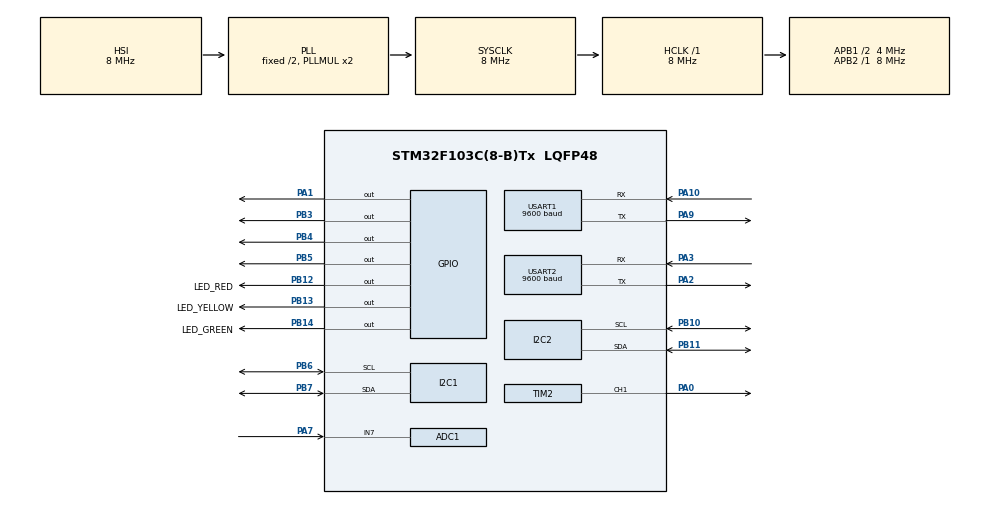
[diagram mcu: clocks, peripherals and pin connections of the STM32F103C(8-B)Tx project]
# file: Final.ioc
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ADC1.Channel-3\#ChannelRegularConversion=ADC_CHANNEL_7
ADC1.ContinuousConvMode=ENABLE
ADC1.NbrOfConversionFlag=1
ADC1.Rank-3\#ChannelRegularConversion=1
ADC1.SamplingTime-3\#ChannelRegularConversion=ADC_SAMPLETIME_1CYCLE_5
ADC1.master=1
Dma.Request0=USART2_TX
Dma.Request1=USART2_RX
Dma.Request2=USART1_RX
Dma.Request3=USART1_TX
Dma.USART1_RX.2.Direction=DMA_PERIPH_TO_MEMORY
Dma.USART1_RX.2.Instance=DMA1_Channel5
Dma.USART1_RX.2.MemDataAlignment=DMA_MDATAALIGN_BYTE
Dma.USART1_RX.2.MemInc=DMA_MINC_ENABLE
Dma.USART1_RX.2.Mode=DMA_NORMAL
Dma.USART1_RX.2.PeriphDataAlignment=DMA_PDATAALIGN_BYTE
Dma.USART1_RX.2.PeriphInc=DMA_PINC_DISABLE
Dma.USART1_RX.2.Priority=DMA_PRIORITY_LOW
Dma.USART1_TX.3.Direction=DMA_MEMORY_TO_PERIPH
Dma.USART1_TX.3.Instance=DMA1_Channel4
Dma.USART1_TX.3.MemDataAlignment=DMA_MDATAALIGN_BYTE
Dma.USART1_TX.3.MemInc=DMA_MINC_ENABLE
Dma.USART1_TX.3.Mode=DMA_NORMAL
Dma.USART1_TX.3.PeriphDataAlignment=DMA_PDATAALIGN_BYTE
Dma.USART1_TX.3.PeriphInc=DMA_PINC_DISABLE
Dma.USART1_TX.3.Priority=DMA_PRIORITY_LOW
Dma.USART2_RX.1.Direction=DMA_PERIPH_TO_MEMORY
Dma.USART2_RX.1.Instance=DMA1_Channel6
Dma.USART2_RX.1.MemDataAlignment=DMA_MDATAALIGN_BYTE
Dma.USART2_RX.1.MemInc=DMA_MINC_ENABLE
Dma.USART2_RX.1.Mode=DMA_NORMAL
Dma.USART2_RX.1.PeriphDataAlignment=DMA_PDATAALIGN_BYTE
Dma.USART2_RX.1.PeriphInc=DMA_PINC_DISABLE
Dma.USART2_RX.1.Priority=DMA_PRIORITY_LOW
Dma.USART2_TX.0.Direction=DMA_MEMORY_TO_PERIPH
Dma.USART2_TX.0.Instance=DMA1_Channel7
Dma.USART2_TX.0.MemDataAlignment=DMA_MDATAALIGN_BYTE
Dma.USART2_TX.0.MemInc=DMA_MINC_ENABLE
Dma.USART2_TX.0.Mode=DMA_NORMAL
Dma.USART2_TX.0.PeriphDataAlignment=DMA_PDATAALIGN_BYTE
Dma.USART2_TX.0.PeriphInc=DMA_PINC_DISABLE
Dma.USART2_TX.0.Priority=DMA_PRIORITY_LOW
Mcu.Family=STM32F1
Mcu.Name=STM32F103C(8-B)Tx
Mcu.Package=LQFP48
NVIC.DMA1_Channel4_IRQn=true\:0\:0\:false\:false\:true\:false\:true\:true
NVIC.DMA1_Channel5_IRQn=true\:0\:0\:false\:false\:true\:false\:true\:true
NVIC.DMA1_Channel6_IRQn=true\:0\:0\:false\:false\:true\:false\:true\:true
NVIC.DMA1_Channel7_IRQn=true\:0\:0\:false\:false\:true\:false\:true\:true
NVIC.I2C2_EV_IRQn=true\:0\:0\:false\:false\:true\:true\:true\:true
NVIC.PriorityGroup=NVIC_PRIORITYGROUP_4
NVIC.USART1_IRQn=true\:0\:0\:false\:false\:true\:true\:true\:true
NVIC.USART2_IRQn=true\:0\:0\:false\:false\:true\:true\:true\:true
PA0-WKUP.Signal=S_TIM2_CH1_ETR
PA1.Signal=GPIO_Output
PA10.Mode=Asynchronous
PA10.Signal=USART1_RX
PA13.Mode=Serial_Wire
PA13.Signal=SYS_JTMS-SWDIO
PA14.Mode=Serial_Wire
PA14.Signal=SYS_JTCK-SWCLK
PA2.Mode=Asynchronous
PA2.Signal=USART2_TX
PA3.Mode=Asynchronous
PA3.Signal=USART2_RX
PA7.Signal=ADCx_IN7
PA9.Mode=Asynchronous
PA9.Signal=USART1_TX
PB10.Mode=I2C
PB10.Signal=I2C2_SCL
PB11.Mode=I2C
PB11.Signal=I2C2_SDA
PB12.GPIO_Label=LED_RED
PB12.Signal=GPIO_Output
PB13.GPIO_Label=LED_YELLOW
PB13.Signal=GPIO_Output
PB14.GPIO_Label=LED_GREEN
PB14.Signal=GPIO_Output
PB3.PinState=GPIO_PIN_SET
PB3.Signal=GPIO_Output
PB4.PinState=GPIO_PIN_SET
PB4.Signal=GPIO_Output
PB5.PinState=GPIO_PIN_SET
PB5.Signal=GPIO_Output
PB6.Mode=I2C
PB6.Signal=I2C1_SCL
PB7.Mode=I2C
PB7.Signal=I2C1_SDA
ProjectManager.HeapSize=0x200
ProjectManager.StackSize=0x400
ProjectManager.TargetToolchain=STM32CubeIDE
RCC.AHBFreq_Value=8000000
RCC.APB1CLKDivider=RCC_HCLK_DIV2
RCC.APB1Freq_Value=4000000
RCC.APB1TimFreq_Value=8000000
RCC.APB2Freq_Value=8000000
RCC.APB2TimFreq_Value=8000000
RCC.HCLKFreq_Value=8000000
RCC.SYSCLKFreq_VALUE=8000000
RCC.SYSCLKSource=RCC_SYSCLKSOURCE_PLLCLK
RCC.USBFreq_Value=8000000
SH.ADCx_IN7.0=ADC1_IN7,IN7
SH.S_TIM2_CH1_ETR.0=TIM2_CH1,PWM Generation1 CH1
TIM2.Channel-PWM\ Generation1\ CH1=TIM_CHANNEL_1
TIM2.Period=1000-1
TIM2.Prescaler=8-1
USART1.BaudRate=9600
USART1.VirtualMode=VM_ASYNC
USART2.BaudRate=9600
USART2.VirtualMode=VM_ASYNC
VP_TIM2_VS_ClockSourceINT.Mode=Internal
board=custom

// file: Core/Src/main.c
/*
 *
 *
+ *  USER CODE BEGIN Header *
 *  /
/**20261012
  ******************************************************************************
  * @file           : main.c
  * @brief          : Main program body
  ******************************************************************************
  */
/* USER CODE END Header */
#include "main.h"
#include "adc.h"
#include "dma.h"
#include "i2c.h"
#include "tim.h"
#include "usart.h"
#include "gpio.h"

/* USER CODE BEGIN Includes */
#include "BLE.h"
#include "Conductivity sensor.h"
#include <stdio.h>
#include <string.h>
#include <AHT21_ENS160.h>
#include "ph_sensor.h"
#include "led.h"
#include "kk_ui.h"
#include "kk_ui_app.h"
#include "kk_oled.h"
#include "kk_oled_driver.h"
#include "ui_input.h"
/* USER CODE END Includes */

/* USER CODE BEGIN PV */
extern uint8_t ble_rx_buf[128];
float current_ph_value = 0.0f;
// 声明外部变量
extern float T_message;
extern uint16_t E_message;
/* USER CODE END PV */

void SystemClock_Config(void);

/* USER CODE BEGIN 0 */

// 1. 蓝牙使用的空闲中断 + DMA 回调
void HAL_UARTEx_RxEventCallback(UART_HandleTypeDef *huart, uint16_t Size)
{
    if (huart->Instance == USART1)
    {

    //解析小程序下发的三色灯控制指令 ↓↓↓↓↓↓

    // 假设蓝牙接收的数据存放在全局数组 rx_data 中
        for (uint16_t i = 0; i < Size; i++)
        {
            // 确保剩余长度至少还有3个字节，并且匹配到了帧头(0x5A)和帧尾(0xA5)
            if ((i + 2 < Size) && (ble_rx_buf[i] == 0x5A) && (ble_rx_buf[i + 2] == 0xA5))
            {
                uint8_t cmd = ble_rx_buf[i + 1]; // 提取中间的指令字节

                if (cmd == 0x01) {
                    LED_SetStatus(SYS_STATUS_SAFE);    // 绿灯
                } else if (cmd == 0x02) {
                    LED_SetStatus(SYS_STATUS_WARNING); // 黄灯
                } else if (cmd == 0x03) {
                    LED_SetStatus(SYS_STATUS_DANGER);  // 红灯
                }

                // 成功解析一条指令后，游标向后跳过已处理的字节，提高效率
                i += 2;
            }
        }
        BLE_RxCallback(Size);
    }
}

// 2. 传感器使用的普通中断接收完成回调
void HAL_UART_RxCpltCallback(UART_HandleTypeDef *huart)
{
    if (huart->Instance == USART2)
    {
        // 只有当状态机处于等待接收状态时，才处理这批数据
        if (Cond_State == COND_STATE_BUSY_RX)
        {
            // 收到完整指令应答，状态推进，通知主循环开始解析
            Cond_State = COND_STATE_DATA_READY;
        }
    }
}

// 3. KK_OLED 的 I2C2 异步刷新回调：把 HAL 完成/错误事件转发给 OLED 驱动
void HAL_I2C_MemTxCpltCallback(I2C_HandleTypeDef *hi2c)
{
    if (hi2c->Instance == I2C2)
    {
        OLED_DriverHandleMemTxComplete();
    }
}

void HAL_I2C_ErrorCallback(I2C_HandleTypeDef *hi2c)
{
    if (hi2c->Instance == I2C2)
    {
        OLED_DriverHandleError();
    }
}
/* USER CODE END 0 */

int main(void)
{

  /* MCU Configuration--------------------------------------------------------*/

  /* Reset of all peripherals, Initializes the Flash interface and the Systick. */
  HAL_Init();

  /* Configure the system clock */
  SystemClock_Config();

  /* Initialize all configured peripherals */
  MX_GPIO_Init();
  MX_DMA_Init();
  MX_USART2_UART_Init();
  MX_USART1_UART_Init();
  MX_I2C1_Init();
  MX_I2C2_Init();
  MX_TIM2_Init();
  MX_ADC1_Init();
  /* USER CODE BEGIN 2 */
  BLE_Init();            // 蓝牙初始化 (DMA空闲中断接收)
  Conductivity_Init();   // 电导率传感器初始化
  EnvSensor_Init(&hi2c1);  //初始化 AHT21 和 ENS160 传感器
  HAL_TIM_PWM_Start(&htim2, TIM_CHANNEL_1);
  LED_SetStatus(SYS_STATUS_OFF); // 上电默认关闭所有指示灯

  // OLED + KK_UI 初始化（屏幕未接好时不影响传感器与蓝牙功能）
  UI_InputInit();
  if (OLED_Init() == OLED_OK)
  {
      KK_UI_AppReset(HAL_GetTick());
      (void)KK_UI_Init(KK_UI_AppGet());
  }

  char dbg_msg[60];
  sprintf(dbg_msg, "Gulu Altar System Starting...\r\n");
  BLE_SendData((uint8_t *)dbg_msg, strlen(dbg_msg));
  HAL_Delay(500);

  uint32_t last_tick = HAL_GetTick(); // 记录上一次的时间戳

  // 启动前先触发一次测量，让传感器开始准备第一帧数据
  Conductivity_StartMeasure_IT();

  //HAL_GPIO_WritePin(GPIOB, GPIO_PIN_11, GPIO_PIN_RESET);

  /* USER CODE END 2 */

  /* Infinite loop */
  /* USER CODE BEGIN WHILE */
    // 定义风扇运行状态标志位 (static 保证每次循环不丢失状态)
    static uint8_t fan_is_running = 0;

    while (1)
    {
    	  current_ph_value = PH_Get_Final_Value();
          // 1. 电导率状态机处理 (轮询)
          Conductivity_Process();

          // 2. OLED 菜单 UI：采样按键 + 运行 KK_UI（每轮调用，保证输入采样频率）
          {
              uint32_t ui_now = HAL_GetTick();
              KK_UI_Input ui_input = UI_InputRead();
              KK_UI_Status ui_status;

              KK_UI_AppUpdate(ui_now);
              ui_status = KK_UI_Update(ui_now, ui_input);
              KK_UI_AppProcessEvents();
              // I2C 传输失败或超时后允许重画重发，避免界面永久卡死
              if (ui_status == KK_UI_DISPLAY_ERROR ||
                  ui_status == KK_UI_DISPLAY_TIMEOUT)
              {
                  (void)KK_UI_RecoverDisplay();
              }
          }

          // 3. 定时 1000ms 执行一次数据综合上报与温度控制
          if (HAL_GetTick() - last_tick >= 1000)
          {
              last_tick = HAL_GetTick();

              // 读取传感器数据
              EnvSensor_Read_Data(&hi2c1, &EnvData);
              char message[100];

              // 判断电导率数据有效性，并按标准格式融合 AHT21 和 ENS160 数据
              if (Cond_State == COND_STATE_ERROR) {
                  // 电导率报错时的输出格式 (保留湿度，将 Con 标记为 Error)
                  sprintf(message, "Tem:%.2f,Hum:%.1f,Co2:%u,Con:Error\r\n",
                          EnvData.Temperature, EnvData.Humidity, EnvData.eCO2);
              } else {
                  // 正常状态下的标准输出格式
                  sprintf(message, "Tem:%.2f,Hum:%.1f,Co2:%u,Con:%u，pH:%.2f\r\n",
                          EnvData.Temperature, EnvData.Humidity, EnvData.eCO2, E_message,current_ph_value);
              }
              BLE_SendData((uint8_t *)message, strlen(message)); // 发送数据
              Conductivity_StartMeasure_IT(); // 触发下一次电导率测量

              // ==========================================
              // 4. 咕噜坛智能散热系统：风扇温度曲线控制
              // ==========================================
              float current_temp = EnvData.Temperature;
              uint32_t pwm_duty = 0;

              // 启动与停止判定 (带 2℃ 的迟滞，防止临界点风扇抽搐)
              if (!fan_is_running && current_temp > 26.0f) {
                  fan_is_running = 1; // 温度超过25度，起转
              }
              else if (fan_is_running && current_temp < 23.0f) {
                  fan_is_running = 0; // 温度降到23度以下，彻底停转
              }

              // 计算占空比 (假设 CubeMX 中 TIM2 的 ARR = 999，最大占空比为 1000)
              if (fan_is_running) {
                  if (current_temp >= 40.0f) {
                      pwm_duty = 1000; // 40度及以上，全速运转
                  } else {
                      // 线性映射：起步给予 20% (200) 的占空比防止电机异响，剩下的 800 动态分配给 26~40度 区间
                      pwm_duty = 200 + (uint32_t)(((current_temp - 26.0f) / (40.0f - 26.0f)) * 800.0f);
                  }
              } else {
                  pwm_duty = 0; // 停转
              }

              // 更新 TIM2 通道 1 的 PWM 占空比
              __HAL_TIM_SET_COMPARE(&htim2, TIM_CHANNEL_1, pwm_duty);
          }
    /* USER CODE END WHILE */

    }
}

void SystemClock_Config(void)
{
  RCC_OscInitTypeDef RCC_OscInitStruct = {0};
  RCC_ClkInitTypeDef RCC_ClkInitStruct = {0};
  RCC_PeriphCLKInitTypeDef PeriphClkInit = {0};

  /** Initializes the RCC Oscillators according to the specified parameters
  * in the RCC_OscInitTypeDef structure.
  */
  RCC_OscInitStruct.OscillatorType = RCC_OSCILLATORTYPE_HSI;
  RCC_OscInitStruct.HSIState = RCC_HSI_ON;
  RCC_OscInitStruct.HSICalibrationValue = RCC_HSICALIBRATION_DEFAULT;
  RCC_OscInitStruct.PLL.PLLState = RCC_PLL_ON;
  RCC_OscInitStruct.PLL.PLLSource = RCC_PLLSOURCE_HSI_DIV2;
  RCC_OscInitStruct.PLL.PLLMUL = RCC_PLL_MUL2;
  if (HAL_RCC_OscConfig(&RCC_OscInitStruct) != HAL_OK)
  {
    Error_Handler();
  }

  /** Initializes the CPU, AHB and APB buses clocks
  */
  RCC_ClkInitStruct.ClockType = RCC_CLOCKTYPE_HCLK|RCC_CLOCKTYPE_SYSCLK
                              |RCC_CLOCKTYPE_PCLK1|RCC_CLOCKTYPE_PCLK2;
  RCC_ClkInitStruct.SYSCLKSource = RCC_SYSCLKSOURCE_PLLCLK;
  RCC_ClkInitStruct.AHBCLKDivider = RCC_SYSCLK_DIV1;
  RCC_ClkInitStruct.APB1CLKDivider = RCC_HCLK_DIV2;
  RCC_ClkInitStruct.APB2CLKDivider = RCC_HCLK_DIV1;

  if (HAL_RCC_ClockConfig(&RCC_ClkInitStruct, FLASH_LATENCY_0) != HAL_OK)
  {
    Error_Handler();
  }
  PeriphClkInit.PeriphClockSelection = RCC_PERIPHCLK_ADC;
  PeriphClkInit.AdcClockSelection = RCC_ADCPCLK2_DIV2;
  if (HAL_RCCEx_PeriphCLKConfig(&PeriphClkInit) != HAL_OK)
  {
    Error_Handler();
  }
}

/* USER CODE BEGIN 4 */
void HAL_UART_ErrorCallback(UART_HandleTypeDef *huart)
{

    if (huart->Instance == USART3)
    {

        __HAL_UART_CLEAR_OREFLAG(huart);
        __HAL_UART_CLEAR_FEFLAG(huart);

       // JW01_Init(huart);
    }

    else if (huart->Instance == USART2)
    {
        __HAL_UART_CLEAR_OREFLAG(huart);
        __HAL_UART_CLEAR_FEFLAG(huart);

        extern volatile Cond_State_t Cond_State;
        Cond_State = COND_STATE_IDLE;
    }
}
/* USER CODE END 4 */

void Error_Handler(void)
{
  __disable_irq();
  while (1)
  {
  }
}
